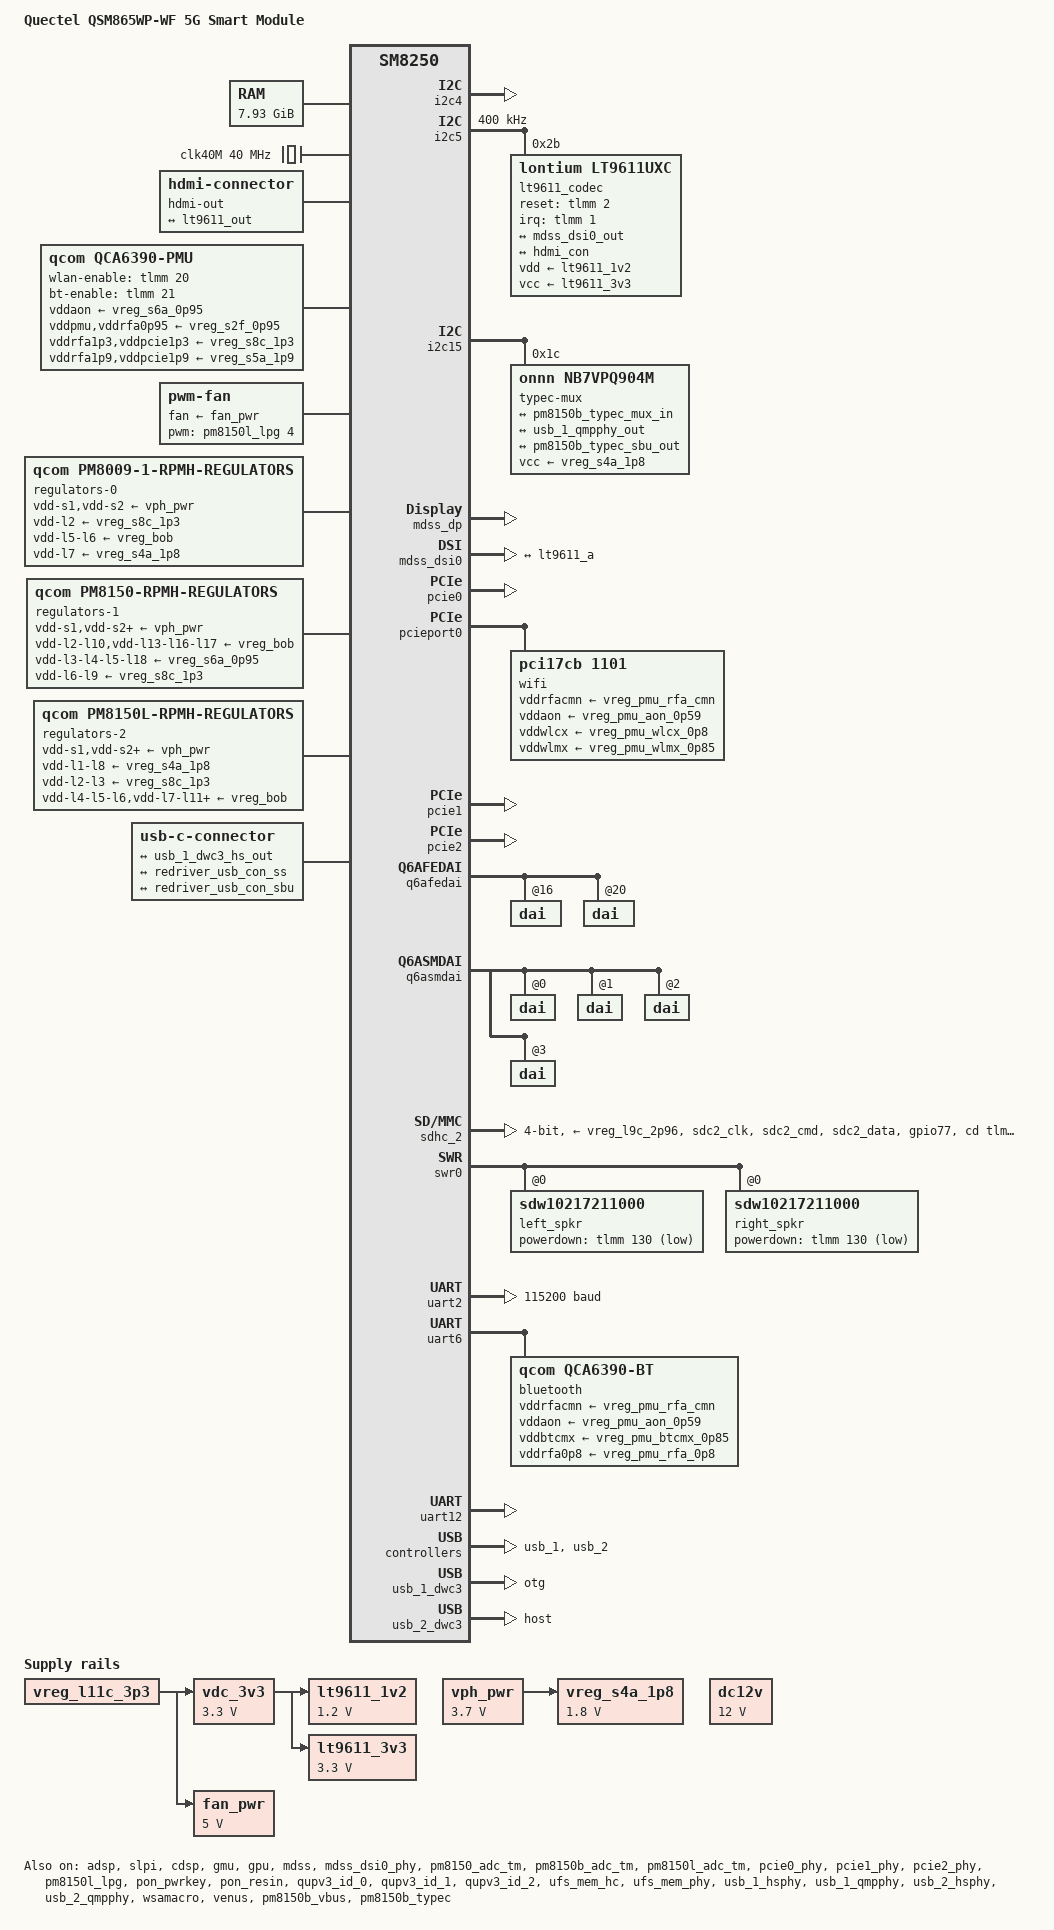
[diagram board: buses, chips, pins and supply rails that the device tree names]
// SPDX-License-Identifier: BSD-3-Clause
/*
 * Copyright (c) 2024, Quectel Wireless Solutions. All rights reserved.
 *
 * Quectel QSM865WP-WF 5G Smart Module — single-file device tree.
 *
 * Module:  QSM865WP-WF (Qualcomm SM8250 / Snapdragon 865 platform).
 * SoM:     Quectel QSM865WP-WF, 8 GB LPDDR5, UFS 3.0 + micro-SD.
 * Carrier: 40-pin header with CAN/SPI/UART/I2C/GPIOs; HDMI via LT9611.
 *
 * Memory layout (verbatim from the original Android kona-fdt.dtb):
 *   <0x0 0x80000000 0x0 0x3b800000>   region 0:  999 MB  lower DRAM
 *   <0x0 0xc0000000 0x1 0xc0000000>   region 1:    7 GB  high DRAM
 *                                          Total:    ~8 GB  LPDDR5
 *
 * Hardware block diagram:
 *   - 8x Kryo585 (4x silver + 3x gold + 1x prime) + Adreno 650 GPU
 *   - UFS 3.0 storage at 0x1d84000 + SD card at 0x8804000
 *   - 3x PCIe Gen3: pcie0=QCA6390 WiFi/BT, pcie1=Wilocity 60GHz, pcie2=5G M.2 MHI
 *   - 2x USB: usb1=Type-C (OTG + retimer + DP-alt-mode), usb2=USB-A host
 *   - HDMI bridge Lontium LT9611 with 4-lane DSI in
 *   - LPASS + WSA8815 speakers + WCD938x codec + DMIC0
 *   - 10 PMIC chips: PM8150 x2 + PM8150B x2 + PM8150L x2 + PM8009 x2
 *
 * Compatible list (in order of decreasing specificity):
 *   quectel,qsm865wp-wf     - this specific module
 *   qcom,sm8250             - generic SM8250 SoC
 *
 * Derived from Quectel Android FDT (kona-fdt.dtb) and reverse-engineered
 * to mainline-style bindings. Verified against Linux v6.18 with
 *     make ARCH=arm64 CROSS_COMPILE= dtbs
 */

/dts-v1/;

#include <dt-bindings/leds/common.h>
#include <dt-bindings/regulator/qcom,rpmh-regulator.h>
#include <dt-bindings/sound/qcom,q6afe.h>
#include <dt-bindings/sound/qcom,q6asm.h>
#include <dt-bindings/usb/pd.h>
#include <dt-bindings/input/linux-event-codes.h>

#include "sm8250.dtsi"
#include "pm8150.dtsi"
#include "pm8150b.dtsi"
#include "pm8150l.dtsi"

/* =================================================================
 *  ROOT
 * ================================================================= */

/ {
	model = "Quectel QSM865WP-WF 5G Smart Module";
	compatible = "quectel,qsm865wp-wf", "qcom,sm8250";
	qcom,msm-id = <0x1e1 0x20001>;
	qcom,board-id = <0x1001f 0x01>;

	/* Board-level fixed regulators - referenced by apps_rsc, lt9611, fan. */
	vph_pwr: vph-pwr-regulator {
		compatible = "regulator-fixed";
		regulator-name = "vph_pwr";
		regulator-min-microvolt = <3700000>;
		regulator-max-microvolt = <3700000>;
		regulator-always-on;
		regulator-boot-on;
	};

	vreg_s4a_1p8: vreg-s4a-1p8 {
		compatible = "regulator-fixed";
		regulator-name = "vreg_s4a_1p8";
		regulator-min-microvolt = <1800000>;
		regulator-max-microvolt = <1800000>;
		regulator-always-on;
		regulator-boot-on;
		vin-supply = <&vph_pwr>;
	};

	vdc_3v3: vdc-3v3-regulator {
		compatible = "regulator-fixed";
		regulator-name = "vdc_3v3";
		vin-supply = <&vreg_l11c_3p3>;
		regulator-min-microvolt = <3300000>;
		regulator-max-microvolt = <3300000>;
		regulator-always-on;
	};

	fan_pwr: fan-pwr-regulator {
		compatible = "regulator-fixed";
		regulator-name = "fan_pwr";
		regulator-min-microvolt = <5000000>;
		regulator-max-microvolt = <5000000>;
		regulator-always-on;
		vin-supply = <&vreg_l11c_3p3>;
	};

	memory: memory@80000000 {
		device_type = "memory";
		/* 999 MB lower + 7 GB high = 8 GB total. Same as kona-fdt.dtb. */
		reg = <0x0 0x80000000 0x0 0x3b800000>,
		      <0x0 0xc0000000 0x1 0xc0000000>;
	};

	aliases {
		/* serial0 = &uart2  : BLSP1 SE2 / QUP_ID_0 SE2 (debug console)
		 * serial1 = &uart6  : BLSP1 SE6 / QUP_ID_0 SE6 (QCA6390 Bluetooth)
		 * serial2 = &uart12 : BLSP11 SE2 / QUP_ID_1 SE2 (earlycon)
		 */
		serial0 = &uart2;
		serial1 = &uart6;
		serial2 = &uart12;
		sdhc2 = &sdhc_2;
	};

	chosen {
		stdout-path = "serial0:115200n8";
	};

	/* 40 MHz crystal for the CAN SPI controller on the carrier board */
	clk40M: can-clock {
		compatible = "fixed-clock";
		#clock-cells = <0>;
		clock-frequency = <40000000>;
	};

	/* DC input rail on the carrier board */
	dc12v: dc12v-regulator {
		compatible = "regulator-fixed";
		regulator-name = "DC12V";
		regulator-min-microvolt = <12000000>;
		regulator-max-microvolt = <12000000>;
		regulator-always-on;
	};

	/* HDMI type-A output connector */
	hdmi-out {
		compatible = "hdmi-connector";
		type = "a";

		port {
			hdmi_con: endpoint {
				remote-endpoint = <&lt9611_out>;
			};
		};
	};

	/* LT9611 HDMI bridge supplies */
	lt9611_1v2: lt9611-vdd12-regulator {
		compatible = "regulator-fixed";
		regulator-name = "LT9611_1V2";
		vin-supply = <&vdc_3v3>;
		regulator-min-microvolt = <1200000>;
		regulator-max-microvolt = <1200000>;
	};
	lt9611_3v3: lt9611-3v3 {
		compatible = "regulator-fixed";
		regulator-name = "LT9611_3V3";
		vin-supply = <&vdc_3v3>;
		regulator-min-microvolt = <3300000>;
		regulator-max-microvolt = <3300000>;
		regulator-boot-on;
		regulator-always-on;
	};

	/* QCA6390 PMU (WiFi/BT companion supplies) */
	qca6390-pmu {
		compatible = "qcom,qca6390-pmu";

		pinctrl-names = "default";
		pinctrl-0 = <&bt_en_state>, <&wlan_en_state>;

		vddaon-supply    = <&vreg_s6a_0p95>;
		vddpmu-supply    = <&vreg_s2f_0p95>;
		vddrfa0p95-supply = <&vreg_s2f_0p95>;
		vddrfa1p3-supply  = <&vreg_s8c_1p3>;
		vddrfa1p9-supply  = <&vreg_s5a_1p9>;
		vddpcie1p3-supply = <&vreg_s8c_1p3>;
		vddpcie1p9-supply = <&vreg_s5a_1p9>;
		vddio-supply      = <&vreg_s4a_1p8>;

		wlan-enable-gpios = <&tlmm 20 GPIO_ACTIVE_HIGH>;
		bt-enable-gpios    = <&tlmm 21 GPIO_ACTIVE_HIGH>;

		regulators {
			vreg_pmu_rfa_cmn:   ldo0 { regulator-name = "vreg_pmu_rfa_cmn"; };
			vreg_pmu_aon_0p59:  ldo1 { regulator-name = "vreg_pmu_aon_0p59"; };
			vreg_pmu_wlcx_0p8:  ldo2 { regulator-name = "vreg_pmu_wlcx_0p8"; };
			vreg_pmu_wlmx_0p85: ldo3 { regulator-name = "vreg_pmu_wlmx_0p85"; };
			vreg_pmu_btcmx_0p85:ldo4 { regulator-name = "vreg_pmu_btcmx_0p85"; };
			vreg_pmu_rfa_0p8:   ldo5 { regulator-name = "vreg_pmu_rfa_0p8"; };
			vreg_pmu_rfa_1p2:   ldo6 { regulator-name = "vreg_pmu_rfa_1p2"; };
			vreg_pmu_rfa_1p7:   ldo7 { regulator-name = "vreg_pmu_rfa_1p7"; };
			vreg_pmu_pcie_0p9:  ldo8 { regulator-name = "vreg_pmu_pcie_0p9"; };
			vreg_pmu_pcie_1p8:  ldo9 { regulator-name = "vreg_pmu_pcie_1p8"; };
		};
	};

	/* PWM fan (PM8150L LPG channel 4) */
	fan: pwm-fan {
		compatible = "pwm-fan";
		cooling-levels = <160 140 120 100 80 60 40 10>;
		#cooling-cells = <2>;
		fan-supply = <&fan_pwr>;
		pwms = <&pm8150l_lpg 4 100000>;
		pinctrl-names = "default";
		pinctrl-0 = <&pwm_out_default>;
	};

	thermal-zones {
		conn-thermal {
			thermal-sensors = <&pm8150b_adc_tm 0>;
			trips { active-config0 { temperature = <125000>; hysteresis = <1000>; type = "critical"; }; };
		};
		pm8150l-pcb-thermal {
			thermal-sensors = <&pm8150l_adc_tm 1>;
			trips { active-config0 { temperature = <50000>; hysteresis = <4000>; type = "passive"; }; };
		};
		skin-msm-thermal {
			thermal-sensors = <&pm8150l_adc_tm 0>;
			trips { active-config0 { temperature = <50000>; hysteresis = <4000>; type = "passive"; }; };
		};
		wifi-thermal {
			thermal-sensors = <&pm8150_adc_tm 1>;
			trips { active-config0 { temperature = <52000>; hysteresis = <4000>; type = "passive"; }; };
		};
		xo-thermal {
			thermal-sensors = <&pm8150_adc_tm 0>;
			trips { active-config0 { temperature = <50000>; hysteresis = <4000>; type = "passive"; }; };
		};
		cluster1-thermal {
			trips {
				cluster1_alert1: trip-point1 { temperature = <95000>; hysteresis = <2000>; type = "hot"; };
				cluster1_fan0:   trip-point2 { temperature = <50000>; hysteresis = <2000>; type = "active"; };
				cluster1_fan1:   trip-point3 { temperature = <55000>; hysteresis = <2000>; type = "active"; };
				cluster1_fan2:   trip-point4 { temperature = <60000>; hysteresis = <2000>; type = "active"; };
				cluster1_fan3:   trip-point5 { temperature = <65000>; hysteresis = <2000>; type = "active"; };
				cluster1_fan4:   trip-point6 { temperature = <70000>; hysteresis = <2000>; type = "active"; };
				cluster1_fan5:   trip-point7 { temperature = <75000>; hysteresis = <2000>; type = "active"; };
				cluster1_fan6:   trip-point8 { temperature = <80000>; hysteresis = <2000>; type = "active"; };
			};
			cooling-maps {
				map0 { trip = <&cluster1_fan0>; cooling-device = <&fan 0 1>; };
				map1 { trip = <&cluster1_fan1>; cooling-device = <&fan 1 2>; };
				map2 { trip = <&cluster1_fan2>; cooling-device = <&fan 2 3>; };
				map3 { trip = <&cluster1_fan3>; cooling-device = <&fan 3 4>; };
				map4 { trip = <&cluster1_fan4>; cooling-device = <&fan 4 5>; };
				map5 { trip = <&cluster1_fan5>; cooling-device = <&fan 5 6>; };
				map6 { trip = <&cluster1_fan6>; cooling-device = <&fan 6 7>; };
			};
		};
	};
};

/* =================================================================
 *  apps_rsc - RPMH regulators (PM8009-F + PM8150-A + PM8150L-C)
 * ================================================================= */

&apps_rsc {
	regulators-0 {
		compatible = "qcom,pm8009-1-rpmh-regulators";
		qcom,pmic-id = "f";
		vdd-s1-supply = <&vph_pwr>;
		vdd-s2-supply = <&vph_pwr>;
		vdd-l2-supply = <&vreg_s8c_1p3>;
		vdd-l5-l6-supply = <&vreg_bob>;
		vdd-l7-supply = <&vreg_s4a_1p8>;

		vreg_s2f_0p95: smps2 { regulator-name = "vreg_s2f_0p95"; regulator-min-microvolt = <900000>; regulator-max-microvolt = <952000>; regulator-initial-mode = <RPMH_REGULATOR_MODE_AUTO>; };
		vreg_l1f_1p1:  ldo1  { regulator-name = "vreg_l1f_1p1";  regulator-min-microvolt = <1104000>; regulator-max-microvolt = <1104000>; regulator-initial-mode = <RPMH_REGULATOR_MODE_HPM>; };
		vreg_l2f_1p2:  ldo2  { regulator-name = "vreg_l2f_1p2";  regulator-min-microvolt = <1200000>; regulator-max-microvolt = <1200000>; regulator-initial-mode = <RPMH_REGULATOR_MODE_HPM>; };
		vreg_l6f_2p8:  ldo6  { regulator-name = "vreg_l6f_2p8";  regulator-min-microvolt = <2800000>; regulator-max-microvolt = <2800000>; regulator-initial-mode = <RPMH_REGULATOR_MODE_HPM>; };
		vreg_l7f_1p8:  ldo7  { regulator-name = "vreg_l7f_1p8";  regulator-min-microvolt = <1800000>; regulator-max-microvolt = <1800000>; regulator-initial-mode = <RPMH_REGULATOR_MODE_HPM>; };
	};

	regulators-1 {
		compatible = "qcom,pm8150-rpmh-regulators";
		qcom,pmic-id = "a";

		vdd-s1-supply = <&vph_pwr>; vdd-s2-supply = <&vph_pwr>; vdd-s3-supply = <&vph_pwr>;
		vdd-s4-supply = <&vph_pwr>; vdd-s5-supply = <&vph_pwr>; vdd-s6-supply = <&vph_pwr>;
		vdd-s7-supply = <&vph_pwr>; vdd-s8-supply = <&vph_pwr>; vdd-s9-supply = <&vph_pwr>;
		vdd-s10-supply = <&vph_pwr>;
		vdd-l2-l10-supply = <&vreg_bob>;
		vdd-l3-l4-l5-l18-supply = <&vreg_s6a_0p95>;
		vdd-l6-l9-supply = <&vreg_s8c_1p3>;
		vdd-l7-l12-l14-l15-supply = <&vreg_s5a_1p9>;
		vdd-l13-l16-l17-supply = <&vreg_bob>;

		vreg_l2a_3p1:   ldo2  { regulator-name = "vreg_l2a_3p1";   regulator-min-microvolt = <3072000>; regulator-max-microvolt = <3072000>; regulator-initial-mode = <RPMH_REGULATOR_MODE_HPM>; };
		vreg_l3a_0p9:   ldo3  { regulator-name = "vreg_l3a_0p9";   regulator-min-microvolt = <928000>;  regulator-max-microvolt = <932000>;  regulator-initial-mode = <RPMH_REGULATOR_MODE_HPM>; };
		vreg_l5a_0p88:  ldo5  { regulator-name = "vreg_l5a_0p88";  regulator-min-microvolt = <880000>;  regulator-max-microvolt = <880000>;  regulator-initial-mode = <RPMH_REGULATOR_MODE_HPM>; };
		vreg_l6a_1p2:   ldo6  { regulator-name = "vreg_l6a_1p2";   regulator-min-microvolt = <1200000>; regulator-max-microvolt = <1200000>; regulator-initial-mode = <RPMH_REGULATOR_MODE_HPM>; };
		vreg_l7a_1p7:   ldo7  { regulator-name = "vreg_l7a_1p7";   regulator-min-microvolt = <1704000>; regulator-max-microvolt = <1800000>; regulator-initial-mode = <RPMH_REGULATOR_MODE_HPM>; };
		vreg_l9a_1p2:   ldo9  { regulator-name = "vreg_l9a_1p2";   regulator-min-microvolt = <1200000>; regulator-max-microvolt = <1200000>; regulator-initial-mode = <RPMH_REGULATOR_MODE_HPM>; };
		vreg_l10a_1p8:  ldo10 { regulator-name = "vreg_l10a_1p8";  regulator-min-microvolt = <1800000>; regulator-max-microvolt = <1800000>; regulator-initial-mode = <RPMH_REGULATOR_MODE_HPM>; };
		vreg_l12a_1p8:  ldo12 { regulator-name = "vreg_l12a_1p8";  regulator-min-microvolt = <1800000>; regulator-max-microvolt = <1800000>; regulator-initial-mode = <RPMH_REGULATOR_MODE_HPM>; };
		vreg_l13a_ts_3p0: ldo13 { regulator-name = "vreg_l13a_ts_3p0"; regulator-min-microvolt = <3008000>; regulator-max-microvolt = <3008000>; regulator-initial-mode = <RPMH_REGULATOR_MODE_HPM>; };
		vreg_l14a_1p8:  ldo14 { regulator-name = "vreg_l14a_1p8";  regulator-min-microvolt = <1800000>; regulator-max-microvolt = <1880000>; regulator-initial-mode = <RPMH_REGULATOR_MODE_HPM>; };
		vreg_l15a_1p8:  ldo15 { regulator-name = "vreg_l15a_1p8";  regulator-min-microvolt = <1800000>; regulator-max-microvolt = <1800000>; regulator-initial-mode = <RPMH_REGULATOR_MODE_HPM>; };
		vreg_l16a_2p7:  ldo16 { regulator-name = "vreg_l16a_2p7";  regulator-min-microvolt = <2704000>; regulator-max-microvolt = <2960000>; regulator-initial-mode = <RPMH_REGULATOR_MODE_HPM>; };
		vreg_l17a_3p0:  ldo17 { regulator-name = "vreg_l17a_3p0";  regulator-min-microvolt = <2856000>; regulator-max-microvolt = <3008000>; regulator-initial-mode = <RPMH_REGULATOR_MODE_HPM>; };
		vreg_l18a_0p92: ldo18 { regulator-name = "vreg_l18a_0p92"; regulator-min-microvolt = <800000>;  regulator-max-microvolt = <912000>;  regulator-initial-mode = <RPMH_REGULATOR_MODE_HPM>; };
		vreg_s5a_1p9:   smps5 { regulator-name = "vreg_s5a_1p9";   regulator-min-microvolt = <1904000>; regulator-max-microvolt = <2000000>; regulator-initial-mode = <RPMH_REGULATOR_MODE_HPM>; };
		vreg_s6a_0p95:  smps6 { regulator-name = "vreg_s6a_0p95";  regulator-min-microvolt = <920000>;  regulator-max-microvolt = <1128000>; regulator-initial-mode = <RPMH_REGULATOR_MODE_HPM>; };
	};

	regulators-2 {
		compatible = "qcom,pm8150l-rpmh-regulators";
		qcom,pmic-id = "c";

		vdd-s1-supply = <&vph_pwr>; vdd-s2-supply = <&vph_pwr>; vdd-s3-supply = <&vph_pwr>;
		vdd-s4-supply = <&vph_pwr>; vdd-s5-supply = <&vph_pwr>; vdd-s6-supply = <&vph_pwr>;
		vdd-s7-supply = <&vph_pwr>; vdd-s8-supply = <&vph_pwr>;
		vdd-l1-l8-supply = <&vreg_s4a_1p8>;
		vdd-l2-l3-supply = <&vreg_s8c_1p3>;
		vdd-l4-l5-l6-supply = <&vreg_bob>;
		vdd-l7-l11-supply = <&vreg_bob>;
		vdd-l9-l10-supply = <&vreg_bob>;
		vdd-bob-supply = <&vph_pwr>;

		vreg_bob:           bob      { regulator-name = "vreg_bob";           regulator-min-microvolt = <3008000>; regulator-max-microvolt = <4000000>; regulator-initial-mode = <RPMH_REGULATOR_MODE_AUTO>; };
		vreg_l1c_1p8:       ldo1     { regulator-name = "vreg_l1c_1p8";       regulator-min-microvolt = <1800000>; regulator-max-microvolt = <1800000>; regulator-initial-mode = <RPMH_REGULATOR_MODE_HPM>; };
		vreg_l2c_1p2:       ldo2     { regulator-name = "vreg_l2c_1p2";       regulator-min-microvolt = <1200000>; regulator-max-microvolt = <1200000>; regulator-initial-mode = <RPMH_REGULATOR_MODE_HPM>; };
		vreg_l3c_0p8:       ldo3     { regulator-name = "vreg_l3c_0p8";       regulator-min-microvolt = <800000>;  regulator-max-microvolt = <800000>;  regulator-initial-mode = <RPMH_REGULATOR_MODE_HPM>; };
		vreg_l4c_1p7:       ldo4     { regulator-name = "vreg_l4c_1p7";       regulator-min-microvolt = <1704000>; regulator-max-microvolt = <2928000>; regulator-initial-mode = <RPMH_REGULATOR_MODE_HPM>; };
		vreg_l5c_1p8:       ldo5     { regulator-name = "vreg_l5c_1p8";       regulator-min-microvolt = <1800000>; regulator-max-microvolt = <2928000>; regulator-initial-mode = <RPMH_REGULATOR_MODE_HPM>; };
		vreg_l6c_2p96:      ldo6     { regulator-name = "vreg_l6c_2p96";      regulator-min-microvolt = <1800000>; regulator-max-microvolt = <2960000>; regulator-initial-mode = <RPMH_REGULATOR_MODE_HPM>; };
		vreg_l7c_cam_vcm0_2p85: ldo7 { regulator-name = "vreg_l7c_cam_vcm0_2p85"; regulator-min-microvolt = <2856000>; regulator-max-microvolt = <3104000>; regulator-initial-mode = <RPMH_REGULATOR_MODE_HPM>; };
		vreg_l8c_1p8:       ldo8     { regulator-name = "vreg_l8c_1p8";       regulator-min-microvolt = <1800000>; regulator-max-microvolt = <1800000>; regulator-initial-mode = <RPMH_REGULATOR_MODE_HPM>; };
		vreg_l9c_2p96:      ldo9     { regulator-name = "vreg_l9c_2p96";      regulator-min-microvolt = <2704000>; regulator-max-microvolt = <2960000>; regulator-initial-mode = <RPMH_REGULATOR_MODE_HPM>; };
		vreg_l10c_3p0:      ldo10    { regulator-name = "vreg_l10c_3p0";      regulator-min-microvolt = <3000000>; regulator-max-microvolt = <3000000>; regulator-initial-mode = <RPMH_REGULATOR_MODE_HPM>; };
		vreg_l11c_3p3:      ldo11    { regulator-name = "vreg_l11c_3p3";      regulator-min-microvolt = <3296000>; regulator-max-microvolt = <3296000>; regulator-initial-mode = <RPMH_REGULATOR_MODE_HPM>; regulator-always-on; };
		vreg_s8c_1p3:       smps8    { regulator-name = "vreg_s8c_1p3";       regulator-min-microvolt = <1352000>; regulator-max-microvolt = <1352000>; regulator-initial-mode = <RPMH_REGULATOR_MODE_HPM>; };
	};
};

/* =================================================================
 *  REMOTE PROCESSORS + GPU
 * ================================================================= */

&adsp { status = "okay"; firmware-name = "qcom/sm8250/adsp.mbn"; };
&slpi { status = "okay"; firmware-name = "qcom/sm8250/slpi.mbn"; };
&cdsp { status = "okay"; firmware-name = "qcom/sm8250/cdsp.mbn"; };
&gmu  { status = "okay"; };

&gpu {
	status = "okay";
	zap-shader {
		memory-region = <&gpu_mem>;
		firmware-name = "qcom/sm8250/a650_zap.mbn";
	};
};

/* =================================================================
 *  I2C PERIPHERALS - sensors / HDMI bridge / Type-C retimer
 * ================================================================= */

&i2c4 { status = "okay"; };

&i2c5 {
	status = "okay";
	clock-frequency = <400000>;

	lt9611_codec: hdmi-bridge@2b {
		compatible = "lontium,lt9611uxc";
		reg = <0x2b>;
		#sound-dai-cells = <1>;
		interrupts-extended = <&tlmm 1 IRQ_TYPE_EDGE_FALLING>;
		reset-gpios = <&tlmm 2 GPIO_ACTIVE_HIGH>;
		vdd-supply = <&lt9611_1v2>;
		vcc-supply = <&lt9611_3v3>;
		pinctrl-names = "default";
		pinctrl-0 = <&lt9611_irq_pin &lt9611_rst_pin>;

		ports {
			#address-cells = <1>;
			#size-cells = <0>;

			port@0 {
				reg = <0>;
				lt9611_a: endpoint { remote-endpoint = <&mdss_dsi0_out>; };
			};
			port@2 {
				reg = <2>;
				lt9611_out: endpoint { remote-endpoint = <&hdmi_con>; };
			};
		};
	};
};

&i2c15 {
	status = "okay";

	typec-mux@1c {
		compatible = "onnn,nb7vpq904m";
		reg = <0x1c>;
		vcc-supply = <&vreg_s4a_1p8>;
		retimer-switch;
		orientation-switch;

		ports {
			#address-cells = <1>;
			#size-cells = <0>;

			port@0 {
				reg = <0>;
				redriver_usb_con_ss: endpoint { remote-endpoint = <&pm8150b_typec_mux_in>; };
			};
			port@1 {
				reg = <1>;
				redriver_phy_con_ss: endpoint {
					remote-endpoint = <&usb_1_qmpphy_out>;
					data-lanes = <0 1 2 3>;
				};
			};
			port@2 {
				reg = <2>;
				redriver_usb_con_sbu: endpoint { remote-endpoint = <&pm8150b_typec_sbu_out>; };
			};
		};
	};
};

/* =================================================================
 *  DISPLAY - MDSS / DSI / DP
 * ================================================================= */

&mdss { status = "okay"; };
&mdss_dp { status = "okay"; };

&mdss_dp_out {
	data-lanes = <0 1>;
	remote-endpoint = <&usb_1_qmpphy_dp_in>;
};

&mdss_dsi0 {
	status = "okay";
	vdda-supply = <&vreg_l9a_1p2>;

	ports {
		port@1 {
			endpoint {
				remote-endpoint = <&lt9611_a>;
				data-lanes = <0 1 2 3>;
			};
		};
	};
};

&mdss_dsi0_phy {
	status = "okay";
	vdds-supply = <&vreg_l5a_0p88>;
};

/* =================================================================
 *  PMIC ADC thermal monitors (5 sensors)
 * ================================================================= */

&pm8150_adc {
	channel@4c {
		reg = <ADC5_XO_THERM_100K_PU>;
		qcom,ratiometric;
		qcom,hw-settle-time = <200>;
		label = "xo_therm";
	};
	channel@4e {
		reg = <ADC5_AMUX_THM2_100K_PU>;
		qcom,ratiometric;
		qcom,hw-settle-time = <200>;
		label = "wifi_therm";
	};
};

&pm8150_adc_tm {
	status = "okay";
	xo-therm@0 {
		reg = <0>;
		io-channels = <&pm8150_adc ADC5_XO_THERM_100K_PU>;
		qcom,ratiometric;
		qcom,hw-settle-time-us = <200>;
	};
	wifi-therm@1 {
		reg = <1>;
		io-channels = <&pm8150_adc ADC5_AMUX_THM2_100K_PU>;
		qcom,ratiometric;
		qcom,hw-settle-time-us = <200>;
	};
};

&pm8150b_adc {
	channel@4f {
		reg = <ADC5_AMUX_THM3_100K_PU>;
		qcom,ratiometric;
		qcom,hw-settle-time = <200>;
		label = "conn_therm";
	};
};

&pm8150b_adc_tm {
	status = "okay";
	conn-therm@0 {
		reg = <0>;
		io-channels = <&pm8150b_adc ADC5_AMUX_THM3_100K_PU>;
		qcom,ratiometric;
		qcom,hw-settle-time-us = <200>;
	};
};

&pm8150l_adc {
	channel@4e {
		reg = <ADC5_AMUX_THM2_100K_PU>;
		qcom,ratiometric;
		qcom,hw-settle-time = <200>;
		label = "skin_msm_therm";
	};
	channel@4f {
		reg = <ADC5_AMUX_THM3_100K_PU>;
		qcom,ratiometric;
		qcom,hw-settle-time = <200>;
		label = "pm8150l_therm";
	};
};

&pm8150l_adc_tm {
	status = "okay";
	skin-msm-therm@0 {
		reg = <0>;
		io-channels = <&pm8150l_adc ADC5_AMUX_THM2_100K_PU>;
		qcom,ratiometric;
		qcom,hw-settle-time-us = <200>;
	};
	pm8150l-therm@1 {
		reg = <1>;
		io-channels = <&pm8150l_adc ADC5_AMUX_THM3_100K_PU>;
		qcom,ratiometric;
		qcom,hw-settle-time-us = <200>;
	};
};

/* =================================================================
 *  PCIe - mainline SM8250 controller enablement
 *
 *  Keep this section deliberately small. The SM8250 SoC dtsi already
 *  provides controller resources, clocks, resets, IOMMU maps, and
 *  PERST/WAKE GPIOs. Only board-specific enablement and the QCA6390
 *  endpoint supplies are described here. Android vendor-only
 *  qcom,pcie-* properties are intentionally omitted.
 *
 *  PCIe2 exposes the MHI register window in the mainline SM8250 PCIe
 *  controller. The 5G modem endpoint is handled by the mainline MHI
 *  subsystem once PCIe enumeration completes.
 * ================================================================= */

&pcie0 {
	status = "okay";
};

&pcie0_phy {
	status = "okay";
	vdda-phy-supply = <&vreg_l5a_0p88>;
	vdda-pll-supply  = <&vreg_l9a_1p2>;
};

&pcieport0 {
	wifi@0 {
		compatible = "pci17cb,1101";
		reg = <0x10000 0x0 0x0 0x0 0x0>;

		vddrfacmn-supply = <&vreg_pmu_rfa_cmn>;
		vddaon-supply    = <&vreg_pmu_aon_0p59>;
		vddwlcx-supply   = <&vreg_pmu_wlcx_0p8>;
		vddwlmx-supply   = <&vreg_pmu_wlmx_0p85>;
		vddrfa0p8-supply  = <&vreg_pmu_rfa_0p8>;
		vddrfa1p2-supply  = <&vreg_pmu_rfa_1p2>;
		vddrfa1p7-supply  = <&vreg_pmu_rfa_1p7>;
		vddpcie0p9-supply = <&vreg_pmu_pcie_0p9>;
		vddpcie1p8-supply = <&vreg_pmu_pcie_1p8>;
	};
};

&pcie1 {
	status = "okay";
};

&pcie1_phy {
	status = "okay";
	vdda-phy-supply = <&vreg_l5a_0p88>;
	vdda-pll-supply  = <&vreg_l9a_1p2>;
};

&pcie2 {
	status = "okay";
};

&pcie2_phy {
	status = "okay";
	vdda-phy-supply = <&vreg_l5a_0p88>;
	vdda-pll-supply  = <&vreg_l9a_1p2>;
};

/* =================================================================
 *  PMIC GPIO line names (tlmm + pm8150_gpios + pm8150b_gpios + pm8150l_gpios)
 * ================================================================= */

&pm8150_gpios {
	gpio-reserved-ranges = <1 1>, <3 2>, <7 1>;
	gpio-line-names =
		"NC",
		"OPTION2",
		"PM_GPIO-F",
		"PM_SLP_CLK_IN",
		"OPTION1",
		"VOL_UP_N",
		"PM8250_GPIO7",
		"SP_ARI_PWR_ALARM",
		"GPIO_9_P",
		"GPIO_10_P";
};

&pm8150b_gpios {
	gpio-line-names =
		"NC",
		"NC",
		"NC",
		"NC",
		"HAP_BOOST_EN",
		"SMB_STAT",
		"NC",
		"NC",
		"SDM_FORCE_USB_BOOT",
		"NC",
		"NC",
		"NC";
};

&pm8150l_gpios {
	gpio-line-names =
		"NC",
		"PM3003A_EN",
		"NC",
		"NC",
		"PM_GPIO5",
		"PM_GPIO-A",
		"PM_GPIO7",
		"NC",
		"NC",
		"PM_GPIO-B",
		"NC",
		"PM3003A_MODE";

	pwm_out_default: pwm-out-default-state {
		pins = "gpio10";
		function = "func1";
		output-low;
		input-disable;
		bias-disable;
		power-source = <0>;
	};
};

&pm8150l_lpg { status = "okay"; };

/* =================================================================
 *  PON pwrkey / resin
 * ================================================================= */

&pon_pwrkey { status = "okay"; };
&pon_resin  {
	status = "okay";
	linux,code = <KEY_VOLUMEDOWN>;
};

/* =================================================================
 *  QUP wrappers + q6afedai + q6asmdai
 * ================================================================= */

&qupv3_id_0 { status = "okay"; };
&qupv3_id_1 { status = "okay"; };
&qupv3_id_2 { status = "okay"; };

&q6afedai {
	dai@16 {
		reg = <PRIMARY_MI2S_RX>;
		qcom,sd-lines = <0 1 2 3>;
	};
	dai@20 {
		reg = <TERTIARY_MI2S_RX>;
		qcom,sd-lines = <0>;
	};
};

&q6asmdai {
	dai@0 { reg = <MSM_FRONTEND_DAI_MULTIMEDIA1>; };
	dai@1 { reg = <MSM_FRONTEND_DAI_MULTIMEDIA2>; };
	dai@2 { reg = <MSM_FRONTEND_DAI_MULTIMEDIA3>; };
	dai@3 {
		direction = <Q6ASM_DAI_RX>;
		is-compress-dai;
		reg = <MSM_FRONTEND_DAI_MULTIMEDIA4>;
	};
};

/* =================================================================
 *  SD card (sdhc_2)
 * ================================================================= */

&sdhc_2 {
	status = "okay";
	pinctrl-names = "default";
	pinctrl-0 = <&sdc2_default_state &sdc2_card_det_n>;
	vmmc-supply = <&vreg_l9c_2p96>;
	vqmmc-supply = <&vreg_l6c_2p96>;
	cd-gpios = <&tlmm 77 GPIO_ACTIVE_LOW>;
	bus-width = <4>;
	no-sdio;
	no-mmc;
};

/* =================================================================
 *  SOUND card - WSA8815 speakers + HDMI bridge
 * ================================================================= */

&sound {
	compatible = "qcom,qrb5165-rb5-sndcard";
	pinctrl-0 = <&tert_mi2s_active>;
	pinctrl-names = "default";
	model = "Quectel-QSM865WP-WSA8815-Speakers-DMIC0";
	audio-routing =
		"SpkrLeft IN", "WSA_SPK1 OUT",
		"SpkrRight IN", "WSA_SPK2 OUT",
		"VA DMIC0", "vdd-micb",
		"VA DMIC1", "vdd-micb";

	mm1-dai-link {
		link-name = "MultiMedia1";
		cpu { sound-dai = <&q6asmdai MSM_FRONTEND_DAI_MULTIMEDIA1>; };
	};
	mm2-dai-link {
		link-name = "MultiMedia2";
		cpu { sound-dai = <&q6asmdai MSM_FRONTEND_DAI_MULTIMEDIA2>; };
	};
	mm3-dai-link {
		link-name = "MultiMedia3";
		cpu { sound-dai = <&q6asmdai MSM_FRONTEND_DAI_MULTIMEDIA3>; };
	};
	mm4-dai-link {
		link-name = "MultiMedia4";
		cpu { sound-dai = <&q6asmdai MSM_FRONTEND_DAI_MULTIMEDIA4>; };
	};
	hdmi-dai-link {
		link-name = "HDMI Playback";
		cpu    { sound-dai = <&q6afedai TERTIARY_MI2S_RX>; };
		platform { sound-dai = <&q6routing>; };
		codec   { sound-dai = <&lt9611_codec 0>; };
	};
	dma-dai-link {
		link-name = "WSA Playback";
		cpu    { sound-dai = <&q6afedai WSA_CODEC_DMA_RX_0>; };
		platform { sound-dai = <&q6routing>; };
		codec   { sound-dai = <&left_spkr>, <&right_spkr>, <&swr0 0>, <&wsamacro 0>; };
	};
	va-dai-link {
		link-name = "VA Capture";
		cpu    { sound-dai = <&q6afedai VA_CODEC_DMA_TX_0>; };
		platform { sound-dai = <&q6routing>; };
		codec   { sound-dai = <&vamacro 0>; };
	};
};

&swr0 {
	status = "okay";
	left_spkr: speaker@0,3 {
		compatible = "sdw10217211000";
		reg = <0 3>;
		powerdown-gpios = <&tlmm 130 GPIO_ACTIVE_LOW>;
		#thermal-sensor-cells = <0>;
		sound-name-prefix = "SpkrLeft";
		#sound-dai-cells = <0>;
	};
	right_spkr: speaker@0,4 {
		compatible = "sdw10217211000";
		reg = <0 4>;
		powerdown-gpios = <&tlmm 130 GPIO_ACTIVE_LOW>;
		#thermal-sensor-cells = <0>;
		sound-name-prefix = "SpkrRight";
		#sound-dai-cells = <0>;
	};
};

/* =================================================================
 *  TLMM - 175 GPIO line-names + pinctrl states (incl. SD card)
 * ================================================================= */

&tlmm {
	gpio-reserved-ranges = <40 4>;
	gpio-line-names =
		"GPIO-MM", "GPIO-NN", "GPIO-OO", "GPIO-PP",
		"GPIO-A", "GPIO-C", "GPIO-E", "GPIO-D",
		"I2C0-SDA", "I2C0-SCL",
		"GPIO-TT", "LT9611_INT",
		"GPIO_12_I2C_SDA", "GPIO_13_I2C_SCL", "LT9611_RST",
		"GPIO_15_RGMII_INT",
		"HST_BT_UART_CTS", "HST_BT_UART_RFR",
		"HST_BT_UART_TX", "HST_BT_UART_RX",
		"HST_WLAN_EN", "HST_BT_EN",
		"GPIO-AAA", "GPIO-BBB", "GPIO-CCC", "GPIO-Z",
		"GPIO-DDD", "GPIO-BB",
		"GPIO_28_CAN_SPI_MISO", "GPIO_29_CAN_SPI_MOSI",
		"GPIO_30_CAN_SPI_CLK", "GPIO_31_CAN_SPI_CS",
		"GPIO-UU", "NC",
		"UART1_TXD_SOM", "UART1_RXD_SOM",
		"UART0_CTS", "UART0_RTS", "UART0_TXD", "UART0_RXD",
		"SPI1_MISO", "SPI1_MOSI", "SPI1_CLK", "SPI1_CS",
		"I2C1_SDA", "I2C1_SCL",
		"GPIO-F", "GPIO-JJ",
		"Board_ID1", "Board_ID2",
		"NC", "NC",
		"SPI0_MISO", "SPI0_MOSI", "SPI0_SCLK", "SPI0_CS",
		"GPIO-QQ", "GPIO-RR",
		"USB2LAN_RESET", "USB2LAN_EXTWAKE",
		"NC", "NC", "NC",
		"NC",
		"GPIO-AA", "USB_CC_DIR", "GPIO-G", "GPIO-LL",
		"USB_DP_HPD_1p8", "NC", "NC",
		"PCIE2_RST_N",
		"SD_DAT3", "SD_SCLK", "SD_DAT2", "SD_DAT1", "SD_DAT0",
		"SD_UFS_CARD_DET_N",
		"GPIO-II",
		"PCIE0_RST_N", "PCIE0_CLK_REQ_N", "PCIE0_WAKE_N",
		"GPIO-CC", "GPIO-DD", "GPIO-EE",
		"PCIE1_RST_N", "LED1", "WIFI_REG_ON",
		"GPIO-VV", "GPIO-WW",
		"NC", "NC",
		"GPIO-K", "GPIO-I",
		"CSI0_MCLK", "CSI1_MCLK", "CSI2_MCLK", "CSI3_MCLK",
		"NC", "NC",
		"GPIO-KK",
		"CCI_I2C_SDA0", "CCI_I2C_SCL0",
		"CCI_I2C_SDA1", "CCI_I2C_SCL1",
		"CCI_I2C_SDA2", "CCI_I2C_SCL2",
		"CCI_I2C_SDA3", "CCI_I2C_SCL3",
		"GPIO-L",
		"NC", "NC",
		"ACCEL_INT", "GYRO_INT",
		"GPIO-J", "GPIO-YY", "GPIO-H", "GPIO-ZZ",
		"NC", "NC", "NC", "NC",
		"MAG_INT", "MAG_DRDY_INT",
		"HST_SW_CTRL",
		"GPIO-M", "GPIO-N", "GPIO-O", "GPIO-P",
		"PS_INT",
		"WSA1_EN",
		"USB_HUB_RESET", "SDM_FORCE_USB_BOOT",
		"I2S1_CLK_HDMI", "I2S1_DATA0_HDMI", "I2S1_WS_HDMI",
		"GPIO-B", "GPIO_137",
		"PCM_CLK", "PCM_DI", "PCM_DO", "PCM_FS",
		"HST_SLIM_CLK", "HST_SLIM_DATA",
		"GPIO-U", "GPIO-Y", "GPIO-R", "GPIO-Q",
		"GPIO-S", "GPIO-T", "GPIO-V", "GPIO-W",
		"DMIC_CLK1", "DMIC_DATA1",
		"DMIC_CLK2", "DMIC_DATA2",
		"WSA_SWR_CLK", "WSA_SWR_DATA",
		"DMIC_CLK3", "DMIC_DATA3",
		"I2C4_SDA", "I2C4_SCL",
		"SPI3_CS1", "SPI3_CS2",
		"SPI2_MISO_LS3", "SPI2_MOSI_LS3", "SPI2_CLK_LS3",
		"SPI2_ACCEL_CS_LS3", "SPI2_CS1",
		"NC", "GPIO-SS", "GPIO-XX",
		"SPI3_MISO", "SPI3_MOSI", "SPI3_CLK", "SPI3_CS",
		"HST_BLE_SNS_UART_TX", "HST_BLE_SNS_UART_RX",
		"HST_WLAN_UART_TX", "HST_WLAN_UART_RX";

	/* Bluetooth (QCA6390) enable */
	bt_en_state: bt-default-state {
		pins = "gpio21";
		function = "gpio";
		drive-strength = <16>;
		output-low;
		bias-pull-up;
	};

	/* LT9611 HDMI bridge */
	lt9611_irq_pin: lt9611-irq-state {
		pins = "gpio1";
		function = "gpio";
		bias-disable;
	};
	lt9611_rst_pin: lt9611-rst-state {
		pins = "gpio2";
		function = "gpio";
		bias-disable;
	};

	/* SD card (sdhc_2) - board-specific pinctrl, not in sm8250.dtsi */
	sdc2_default_state: sdc2-default-state {
		clk-pins {
			pins = "sdc2_clk";
			bias-disable;
			drive-strength = <16>;
		};
		cmd-pins {
			pins = "sdc2_cmd";
			bias-pull-up;
			drive-strength = <10>;
		};
		data-pins {
			pins = "sdc2_data";
			bias-pull-up;
			drive-strength = <10>;
		};
	};

	sdc2_card_det_n: sd-card-det-n-state {
		pins = "gpio77";
		function = "gpio";
		bias-pull-up;
	};

	/* WiFi (QCA6390) enable / reset */
	wlan_en_state: wlan-default-state {
		pins = "gpio20";
		function = "gpio";
		drive-strength = <16>;
		output-low;
		bias-pull-up;
	};
};

/* =================================================================
 *  LPASS TLMM - default-disabled
 * ================================================================= */

&lpass_tlmm { status = "disabled"; };

/* =================================================================
 *  UARTs - uart2=console, uart6=BT, uart12=earlycon
 * ================================================================= */

&uart2 {
	status = "okay";
	pinctrl-0 = <&qup_uart2_default>;
	pinctrl-names = "default";
	current-speed = <115200>;
};

&uart6 {
	status = "okay";

	bluetooth {
		compatible = "qcom,qca6390-bt";
		vddrfacmn-supply = <&vreg_pmu_rfa_cmn>;
		vddaon-supply    = <&vreg_pmu_aon_0p59>;
		vddbtcmx-supply  = <&vreg_pmu_btcmx_0p85>;
		vddrfa0p8-supply = <&vreg_pmu_rfa_0p8>;
		vddrfa1p2-supply = <&vreg_pmu_rfa_1p2>;
		vddrfa1p7-supply = <&vreg_pmu_rfa_1p7>;
	};
};

&uart12 { status = "okay"; };

/* =================================================================
 *  UFS + SD card supplies
 * ================================================================= */

&ufs_mem_hc {
	status = "okay";
	vcc-supply      = <&vreg_l17a_3p0>;
	vcc-max-microamp  = <800000>;
	vccq-supply     = <&vreg_l6a_1p2>;
	vccq-max-microamp = <800000>;
	vccq2-supply    = <&vreg_s4a_1p8>;
	vccq2-max-microamp = <800000>;
};

&ufs_mem_phy {
	status = "okay";
	vdda-phy-supply = <&vreg_l5a_0p88>;
	vdda-pll-supply  = <&vreg_l9a_1p2>;
};

/* =================================================================
 *  USB - host + Type-C + DP alt-mode + retimer
 * ================================================================= */

&usb_1 { status = "okay"; };

&usb_1_dwc3 {
	dr_mode = "otg";
	usb-role-switch;
};

&usb_1_dwc3_hs_out {
	remote-endpoint = <&pm8150b_hs_in>;
};

&usb_1_hsphy {
	status = "okay";
	vdda-pll-supply = <&vreg_l5a_0p88>;
	vdda33-supply   = <&vreg_l2a_3p1>;
	vdda18-supply   = <&vreg_l12a_1p8>;
};

&usb_1_qmpphy {
	status = "okay";
	vdda-phy-supply = <&vreg_l9a_1p2>;
	vdda-pll-supply = <&vreg_l18a_0p92>;
};

&usb_1_qmpphy_out {
	remote-endpoint = <&redriver_phy_con_ss>;
};

&usb_2 { status = "okay"; };

&usb_2_dwc3 {
	dr_mode = "host";
};

&usb_2_hsphy {
	status = "okay";
	vdda-pll-supply = <&vreg_l5a_0p88>;
	vdda33-supply   = <&vreg_l2a_3p1>;
	vdda18-supply   = <&vreg_l12a_1p8>;
};

&usb_2_qmpphy {
	status = "okay";
	vdda-phy-supply = <&vreg_l9a_1p2>;
	vdda-pll-supply = <&vreg_l18a_0p92>;
};

/* =================================================================
 *  Venus video codec + soundwire speakers + vamacro DMIC
 * ================================================================= */

&vamacro {
	pinctrl-0 = <&dmic01_active>;
	pinctrl-names = "default";
	vdd-micb-supply = <&vreg_s4a_1p8>;
	qcom,dmic-sample-rate = <600000>;
};

&wsamacro { status = "okay"; };

&venus { status = "okay"; };

/* =================================================================
 *  SPI0 drive-strength overrides
 * ================================================================= */

&qup_spi0_cs_gpio {
	drive-strength = <6>;
	bias-disable;
};

&qup_spi0_data_clk {
	drive-strength = <6>;
	bias-disable;
};

/* =================================================================
 *  PM8150b VBUS + Type-C + DP alt-mode + USB-C retimer
 *
 *  The 16 type-c interrupts are inherited from pm8150b.dtsi.
 *  We only enable the connector + endpoint bindings here.
 * ================================================================= */

&pm8150b_vbus {
	regulator-min-microamp = <500000>;
	regulator-max-microamp = <3000000>;
	status = "okay";
};

&pm8150b_typec {
	status = "okay";
	vdd-pdphy-supply = <&vreg_l2a_3p1>;

	connector {
		compatible = "usb-c-connector";
		power-role = "source";
		data-role = "dual";
		self-powered;

		source-pdos = <PDO_FIXED(5000, 3000,
					 PDO_FIXED_DUAL_ROLE |
					 PDO_FIXED_USB_COMM |
					 PDO_FIXED_DATA_SWAP)>;

		altmodes {
			displayport {
				svid = /bits/ 16 <0xff01>;
				vdo = <0x00001c46>;
			};
		};

		ports {
			#address-cells = <1>;
			#size-cells = <0>;

			port@0 {
				reg = <0>;
				pm8150b_hs_in: endpoint {
					remote-endpoint = <&usb_1_dwc3_hs_out>;
				};
			};
			port@1 {
				reg = <1>;
				pm8150b_typec_mux_in: endpoint {
					remote-endpoint = <&redriver_usb_con_ss>;
				};
			};
			port@2 {
				reg = <2>;
				pm8150b_typec_sbu_out: endpoint {
					remote-endpoint = <&redriver_usb_con_sbu>;
				};
			};
		};
	};
};

/* DP alt-mode routes mdss_dp_out -> usb_1_qmpphy_dp_in */
&usb_1_qmpphy_dp_in {
	remote-endpoint = <&mdss_dp_out>;
};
